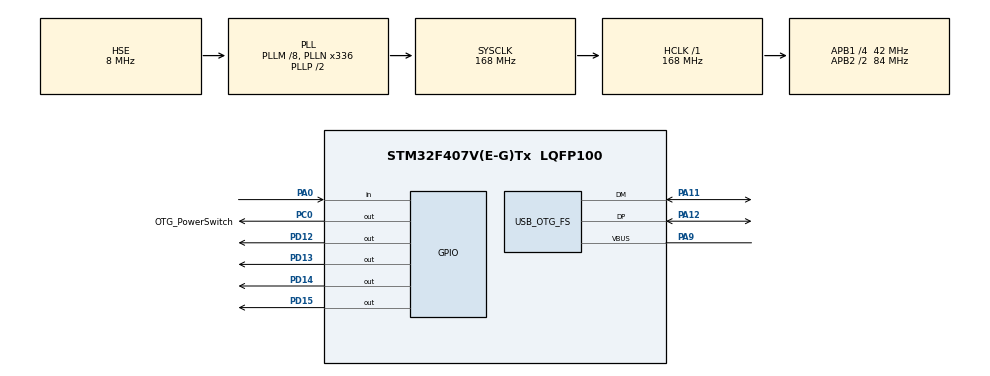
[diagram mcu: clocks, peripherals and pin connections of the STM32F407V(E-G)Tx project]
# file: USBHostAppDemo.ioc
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Mcu.Family=STM32F4
PH0-OSC_IN.Signal=RCC_OSC_IN
RCC.CortexFreq_Value=168000000
VP_USB_HOST_VS_USB_HOST_MSC_FS.Mode=MSC_FS
USB_HOST0.BSP.solution=PC0
USB_HOST.BSP.number=1
PC0.GPIO_Label=OTG_PowerSwitch
PA11.Mode=Host_Only
PC0.Signal=GPIO_Output
RCC.APB1CLKDivider=RCC_HCLK_DIV4
USB_HOST.USBH_HandleTypeDef-MSC_FS=hUsbHostFS
RCC.SYSCLKSource=RCC_SYSCLKSOURCE_PLLCLK
ProjectManager.StackSize=0x4000
PA0-WKUP.Signal=GPIO_Input
USB_HOST0.BSP.STBoard=false
PA13.Signal=SYS_JTMS-SWDIO
PD13.Signal=GPIO_Output
PA9.Mode=Activate_VBUS
PA12.Signal=USB_OTG_FS_DP
ProjectManager.TargetToolchain=STM32CubeIDE
RCC.HCLKFreq_Value=168000000
RCC.APB2TimFreq_Value=168000000
PA9.Signal=USB_OTG_FS_VBUS
USB_HOST0.BSP.ip=GPIO
RCC.LSE_VALUE=32768
RCC.AHBFreq_Value=168000000
PH0-OSC_IN.Mode=HSE-External-Oscillator
VP_FATFS_VS_Generic.Mode=User_defined
RCC.HSE_VALUE=8000000
USB_OTG_FS.phy_itface=HCD_PHY_EMBEDDED
board=STM32F407G-DISC1
RCC.VCOOutputFreq_Value=336000000
USB_HOST.VirtualModeFS=Msc
RCC.APB2Freq_Value=84000000
USB_HOST0.BSP.api=Unknown
PA14.Mode=Serial_Wire
PH1-OSC_OUT.Signal=RCC_OSC_OUT
PA13.Mode=Serial_Wire
Mcu.Name=STM32F407V(E-G)Tx
FATFS._MAX_SS=4096
PD14.Signal=GPIO_Output
PH1-OSC_OUT.Mode=HSE-External-Oscillator
RCC.48MHZClocksFreq_Value=48000000
USB_HOST0.BSP.i2caddr=0
RCC.SYSCLKFreq_VALUE=168000000
Mcu.Package=LQFP100
PA12.Mode=Host_Only
PD12.Signal=GPIO_Output
NVIC.OTG_FS_IRQn=true\:0\:0\:false\:false\:true\:false\:true
PA11.Signal=USB_OTG_FS_DM
PA14.Signal=SYS_JTCK-SWCLK
USB_OTG_FS.VirtualMode=Host_Only
ProjectManager.HeapSize=0x2000
VP_FATFS_VS_USB.Mode=USB
RCC.HSI_VALUE=16000000
RCC.PLLQ=7
NVIC.PriorityGroup=NVIC_PRIORITYGROUP_0
USB_HOST0.BSP.name=Drive_VBUS_FS
RCC.APB2CLKDivider=RCC_HCLK_DIV2
RCC.PLLM=8
RCC.PLLN=336
RCC.APB1TimFreq_Value=84000000
RCC.APB1Freq_Value=42000000
USB_HOST0.BSP.mode=Output
PD15.Signal=GPIO_Output
USB_HOST0.BSP.instance=PC0

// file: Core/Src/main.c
/* USER CODE BEGIN Header */
/**
 ******************************************************************************
 * @file           : main.c
 * @brief          : Main program body
 ******************************************************************************
 * @attention
 *
 * <h2><center>&copy; Copyright (c) 2021 STMicroelectronics.
 * All rights reserved.</center></h2>
 *
 * This software component is licensed by ST under Ultimate Liberty license
 * SLA0044, the "License"; You may not use this file except in compliance with
 * the License. You may obtain a copy of the License at:
 *                             www.st.com/SLA0044
 *
 ******************************************************************************
 */
/* USER CODE END Header */
#include "main.h"
#include "fatfs.h"
#include "usb_host.h"

/* USER CODE BEGIN Includes */
#include <string.h>
#include <stdbool.h>
/* USER CODE END Includes */

/* USER CODE BEGIN PV */
extern ApplicationTypeDef Appli_state;
extern char USBHPath[4];
FATFS myUSBFatFS;
FIL myFile;
FRESULT myRes;
UINT byteswritten, bytesread;
char rwtext[100];
bool USBTestWrite(void);
/* USER CODE END PV */

void SystemClock_Config(void);
static void MX_GPIO_Init(void);
void MX_USB_HOST_Process(void);

/* USER CODE BEGIN PFP */
void button_check(void);
bool USBTestWrite(void);
bool USBTestRead(void);

/* USER CODE END PFP */

int main(void) {

	/* MCU Configuration--------------------------------------------------------*/

	/* Reset of all peripherals, Initializes the Flash interface and the Systick. */
	HAL_Init();

	/* Configure the system clock */
	SystemClock_Config();

	/* Initialize all configured peripherals */
	MX_GPIO_Init();
	MX_FATFS_Init();
	MX_USB_HOST_Init();

	/* Infinite loop */
	while (1) {
		MX_USB_HOST_Process();

		/* USER CODE BEGIN 3 */
		switch (Appli_state) {
		case APPLICATION_IDLE:
			break;
		case APPLICATION_START:
			/*Register the file system object to the FATFS module */
			if (f_mount(&myUSBFatFS, (TCHAR const*) USBHPath, 0) != FR_OK) {
				/*FATFS Initialization Error*/
				Error_Handler();
			} else {
				HAL_GPIO_WritePin(GPIOD, GPIO_PIN_12, GPIO_PIN_SET); //Green led
				HAL_GPIO_WritePin(GPIOD, GPIO_PIN_14, GPIO_PIN_RESET); //Red led
				HAL_GPIO_WritePin(GPIOD, GPIO_PIN_15, GPIO_PIN_RESET); //Blue led
				HAL_GPIO_WritePin(GPIOD, GPIO_PIN_13, GPIO_PIN_RESET); //Orange led
			}
			Appli_state = APPLICATION_IDLE;
			break;
		case APPLICATION_READY:
			if (HAL_GPIO_ReadPin(GPIOA, GPIO_PIN_0) == GPIO_PIN_SET) {
				if (USBTestWrite()) {
					if(USBTestRead()){
					HAL_GPIO_WritePin(GPIOD, GPIO_PIN_14, GPIO_PIN_RESET); //Red led
					HAL_GPIO_WritePin(GPIOD, GPIO_PIN_15, GPIO_PIN_RESET); //Blue led
					HAL_GPIO_WritePin(GPIOD, GPIO_PIN_13, GPIO_PIN_RESET); //Orange led
					HAL_GPIO_WritePin(GPIOD, GPIO_PIN_15, GPIO_PIN_SET); //Blue led
					}
					else {
						HAL_GPIO_WritePin(GPIOD, GPIO_PIN_14, GPIO_PIN_SET); //Red led
						HAL_Delay(1000);
					}
				} else {
					HAL_GPIO_WritePin(GPIOD, GPIO_PIN_14, GPIO_PIN_SET); //Red led
					HAL_Delay(1000);
				}
			}
			break;
		case APPLICATION_DISCONNECT:
			HAL_GPIO_WritePin(GPIOD, GPIO_PIN_13, GPIO_PIN_SET);
			break;

		}
	}
	/* USER CODE END 3 */
}

//USB test write function
bool USBTestWrite(void) {
	char *str =
			"<!DOCTYPE html>"
					"\n<html>"
					"\n<head>"
					"\n<meta charset=\"utf-8<\">"
					"\n<meta name=\"viewport\" content=\"width=device-width, initial-scale=1\">"
					"\n<title>Page Not Found</title>"
					"\n<style media=\"screen\">"
					"\nbody { background: #ECEFF1; color: rgba(0,0,0,0.87); font-family: Roboto, Helvetica, Arial, sans-serif; margin: 0; padding: 0; }"
					"\n#message { background: white; max-width: 360px; margin: 100px auto 16px; padding: 32px 24px 16px; border-radius: 3px; }"
					"\n#message h3 { color: #888; font-weight: normal; font-size: 16px; margin: 16px 0 12px; }"
					"\n#message h2 { color: #ffa100; font-weight: bold; font-size: 16px; margin: 0 0 8px; }"
					"\n#message h1 { font-size: 22px; font-weight: 300; color: rgba(0,0,0,0.6); margin: 0 0 16px;}"
					"\n#message p { line-height: 140%; margin: 16px 0 24px; font-size: 14px; }"
					"\n#message a { display: block; text-align: center; background: #039be5; text-transform: uppercase; text-decoration: none; color: white; padding: 16px; border-radius: 4px; }"
					"\n#message, #message a { box-shadow: 0 1px 3px rgba(0,0,0,0.12), 0 1px 2px rgba(0,0,0,0.24); }"
					"\n#load { color: rgba(0,0,0,0.4); text-align: center; font-size: 13px; }"
					"\n@media (max-width: 600px) {"
					"\nbody, #message { margin-top: 0; background: white; box-shadow: none; }"
					"\nbody { border-top: 16px solid #ffa100; }"
					"\n}"
					"\n</style>"
					"\n</head>"
					"\n<body>"
					"\n<div id=\"message\">"
					"\n<h2>404</h2>"
					"\n<h1>Page Not Found</h1>"
					"\n<p>The specified file was not found on this website. Please check the URL for mistakes and try again.</p>"
					"\n<h3>Why am I seeing this?</h3>"
					"\n<p>This page was generated by the Firebase Command-Line Interface. To modify it, edit the <code>404.html</code> file in your project's configured <code>public</code> directory.</p>"
					"\n</div>"
					"\n</body>"
					"\n</html>";
	FRESULT resultado;
	resultado = f_open(&myFile, "test2.txt", FA_CREATE_ALWAYS | FA_WRITE);
	if (resultado != FR_OK) {
		return 0;
	} else {
		sprintf(rwtext, str);
		myRes = f_write(&myFile, (uint8_t*) rwtext, strlen(rwtext),
				&byteswritten);
		if ((byteswritten == 0) && (myRes != FR_OK)) {
			return 0;
		}
	}
	f_close(&myFile);
	return 1;
}

bool USBTestRead(void) {
	FRESULT resultado;
	resultado = f_open(&myFile, "test2.txt", FA_READ);
	if (resultado != FR_OK) {
		return 0;
	} else {
		for (uint8_t i = 0; i < 100; i++) {
			myRes = f_read(&myFile, (uint8_t*) &rwtext[i], 1, &bytesread);
			if (rwtext[i] == 0x00) {
				bytesread = 1;
				break;
			}
		}
		if (bytesread == 0) {
			return 0;
		}
	}

	f_close(&myFile);
	return 1;
}

void SystemClock_Config(void) {
	RCC_OscInitTypeDef RCC_OscInitStruct = { 0 };
	RCC_ClkInitTypeDef RCC_ClkInitStruct = { 0 };

	/** Configure the main internal regulator output voltage
	 */
	__HAL_RCC_PWR_CLK_ENABLE();
	__HAL_PWR_VOLTAGESCALING_CONFIG(PWR_REGULATOR_VOLTAGE_SCALE1);
	/** Initializes the RCC Oscillators according to the specified parameters
	 * in the RCC_OscInitTypeDef structure.
	 */
	RCC_OscInitStruct.OscillatorType = RCC_OSCILLATORTYPE_HSE;
	RCC_OscInitStruct.HSEState = RCC_HSE_ON;
	RCC_OscInitStruct.PLL.PLLState = RCC_PLL_ON;
	RCC_OscInitStruct.PLL.PLLSource = RCC_PLLSOURCE_HSE;
	RCC_OscInitStruct.PLL.PLLM = 8;
	RCC_OscInitStruct.PLL.PLLN = 336;
	RCC_OscInitStruct.PLL.PLLP = RCC_PLLP_DIV2;
	RCC_OscInitStruct.PLL.PLLQ = 7;
	if (HAL_RCC_OscConfig(&RCC_OscInitStruct) != HAL_OK) {
		Error_Handler();
	}
	/** Initializes the CPU, AHB and APB buses clocks
	 */
	RCC_ClkInitStruct.ClockType = RCC_CLOCKTYPE_HCLK | RCC_CLOCKTYPE_SYSCLK
			| RCC_CLOCKTYPE_PCLK1 | RCC_CLOCKTYPE_PCLK2;
	RCC_ClkInitStruct.SYSCLKSource = RCC_SYSCLKSOURCE_PLLCLK;
	RCC_ClkInitStruct.AHBCLKDivider = RCC_SYSCLK_DIV1;
	RCC_ClkInitStruct.APB1CLKDivider = RCC_HCLK_DIV4;
	RCC_ClkInitStruct.APB2CLKDivider = RCC_HCLK_DIV2;

	if (HAL_RCC_ClockConfig(&RCC_ClkInitStruct, FLASH_LATENCY_5) != HAL_OK) {
		Error_Handler();
	}
}

static void MX_GPIO_Init(void) {
	GPIO_InitTypeDef GPIO_InitStruct = { 0 };

	/* GPIO Ports Clock Enable */
	__HAL_RCC_GPIOH_CLK_ENABLE();
	__HAL_RCC_GPIOC_CLK_ENABLE();
	__HAL_RCC_GPIOA_CLK_ENABLE();
	__HAL_RCC_GPIOD_CLK_ENABLE();

	/*Configure GPIO pin Output Level */
	HAL_GPIO_WritePin(OTG_PowerSwitch_GPIO_Port, OTG_PowerSwitch_Pin,
			GPIO_PIN_RESET);

	/*Configure GPIO pin Output Level */
	HAL_GPIO_WritePin(GPIOD,
	GPIO_PIN_12 | GPIO_PIN_13 | GPIO_PIN_14 | GPIO_PIN_15, GPIO_PIN_RESET);

	/*Configure GPIO pin : OTG_PowerSwitch_Pin */
	GPIO_InitStruct.Pin = OTG_PowerSwitch_Pin;
	GPIO_InitStruct.Mode = GPIO_MODE_OUTPUT_PP;
	GPIO_InitStruct.Pull = GPIO_NOPULL;
	GPIO_InitStruct.Speed = GPIO_SPEED_FREQ_LOW;
	HAL_GPIO_Init(OTG_PowerSwitch_GPIO_Port, &GPIO_InitStruct);

	/*Configure GPIO pin : PA0 */
	GPIO_InitStruct.Pin = GPIO_PIN_0;
	GPIO_InitStruct.Mode = GPIO_MODE_INPUT;
	GPIO_InitStruct.Pull = GPIO_NOPULL;
	HAL_GPIO_Init(GPIOA, &GPIO_InitStruct);

	/*Configure GPIO pins : PD12 PD13 PD14 PD15 */
	GPIO_InitStruct.Pin = GPIO_PIN_12 | GPIO_PIN_13 | GPIO_PIN_14 | GPIO_PIN_15;
	GPIO_InitStruct.Mode = GPIO_MODE_OUTPUT_PP;
	GPIO_InitStruct.Pull = GPIO_NOPULL;
	GPIO_InitStruct.Speed = GPIO_SPEED_FREQ_LOW;
	HAL_GPIO_Init(GPIOD, &GPIO_InitStruct);

}

void Error_Handler(void) {
	__disable_irq();
	while (1) {
	}
}

/************************ (C) COPYRIGHT STMicroelectronics *****END OF FILE****/
